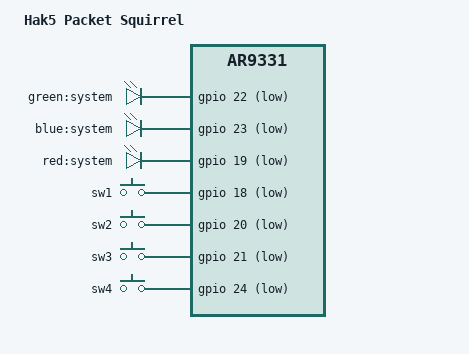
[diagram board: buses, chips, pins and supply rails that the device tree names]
// SPDX-License-Identifier: GPL-2.0-or-later OR MIT

#include "ar9331_hak5_lan-turtle.dtsi"

/ {
	model = "Hak5 Packet Squirrel";
	compatible = "hak5,packet-squirrel", "qca,ar9331";

	aliases {
		led-boot = &led_system_green;
		led-failsafe = &led_system_green;
		led-running = &led_system_green;
		led-upgrade = &led_system_green;
	};

	leds {
		compatible = "gpio-leds";

		led_system_green: system-green {
			label = "green:system";
			gpios = <&gpio 22 GPIO_ACTIVE_LOW>;
		};

		system-blue {
			label = "blue:system";
			gpios = <&gpio 23 GPIO_ACTIVE_LOW>;
		};

		system-red {
			label = "red:system";
			gpios = <&gpio 19 GPIO_ACTIVE_LOW>;
		};
	};
};

&keys {
	sw1 {
		label = "sw1";
		linux,code = <BTN_0>;
		gpios = <&gpio 18 GPIO_ACTIVE_LOW>;
		debounce-interval = <60>;
	};

	sw2 {
		label = "sw2";
		linux,code = <BTN_1>;
		gpios = <&gpio 20 GPIO_ACTIVE_LOW>;
		debounce-interval = <60>;
	};

	sw3 {
		label = "sw3";
		linux,code = <BTN_2>;
		gpios = <&gpio 21 GPIO_ACTIVE_LOW>;
		debounce-interval = <60>;
	};

	sw4 {
		label = "sw4";
		linux,code = <BTN_3>;
		gpios = <&gpio 24 GPIO_ACTIVE_LOW>;
		debounce-interval = <60>;
	};
};
